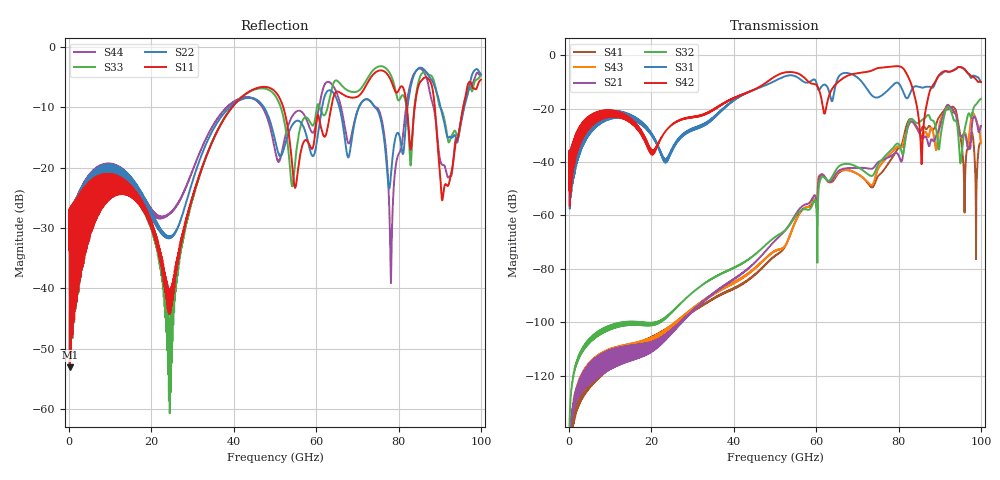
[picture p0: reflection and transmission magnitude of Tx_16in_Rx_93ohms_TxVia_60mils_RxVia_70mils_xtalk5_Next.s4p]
! Info: Touchstone file created by Circ.  Input file=Tx_16in_Rx_93ohms_TxVia_60mils_RxVia_70mils.circ
# Hz S RI R 50
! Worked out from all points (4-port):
!   10000 points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, 10 MHz to 100 GHz, reference 50 ohm
!   strongest paths, dB at 10 MHz, 25.01 GHz, 50.01 GHz, 75.01 GHz, 100 GHz:
!     S42: -50.5, -25.9, -8.0, -4.8, -10.0
!     S31: -50.5, -35.0, -9.6, -15.8, -10.1
!     S32: -156.9, -96.3, -68.1, -41.1, -16.4
!     S21: -167.9, -104.0, -69.5, -40.1, -26.6
!     S43: -158.1, -102.2, -73.4, -42.7, -32.9
!     S41: -158.5, -101.3, -75.2, -45.4, -32.9
!   lowest |S11| = -53.1 dB at 200 MHz (marker M1), VSWR 1.00, Z = 49.8 + j0.125 ohm
!   |S11| at or under -10 dB: start of sweep to 39.59 GHz; 52.01 GHz to 63.65 GHz (11.65 GHz wide, 20.1 % of centre); 88.81 GHz to 95.74 GHz (6.922 GHz wide, 7.5 % of centre) (the widest 3 of 4)
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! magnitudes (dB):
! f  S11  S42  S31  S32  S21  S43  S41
! 10 MHz  -33.6  -50.5  -50.5  -156.9  -167.9  -158.1  -158.5
! 200 MHz  -53.1  -45.5  -45.5  -134.0  -144.5  -144.5  -148.3
! 24.45 GHz  -40.2  -26.7  -37.8  -97.0  -103.6  -101.8  -101.6
! 39.84 GHz  -9.8  -16.2  -17.0  -79.8  -84.1  -85.5  -87.7
! 78.18 GHz  -5.6  -4.3  -12.0  -35.6  -37.8  -36.7  -39.1
! 85.58 GHz  -5.6  -40.7  -12.1  -24.4  -31.1  -30.1  -27.8
! 100 GHz  -5.4  -10.0  -10.1  -16.4  -26.6  -32.9  -32.9
